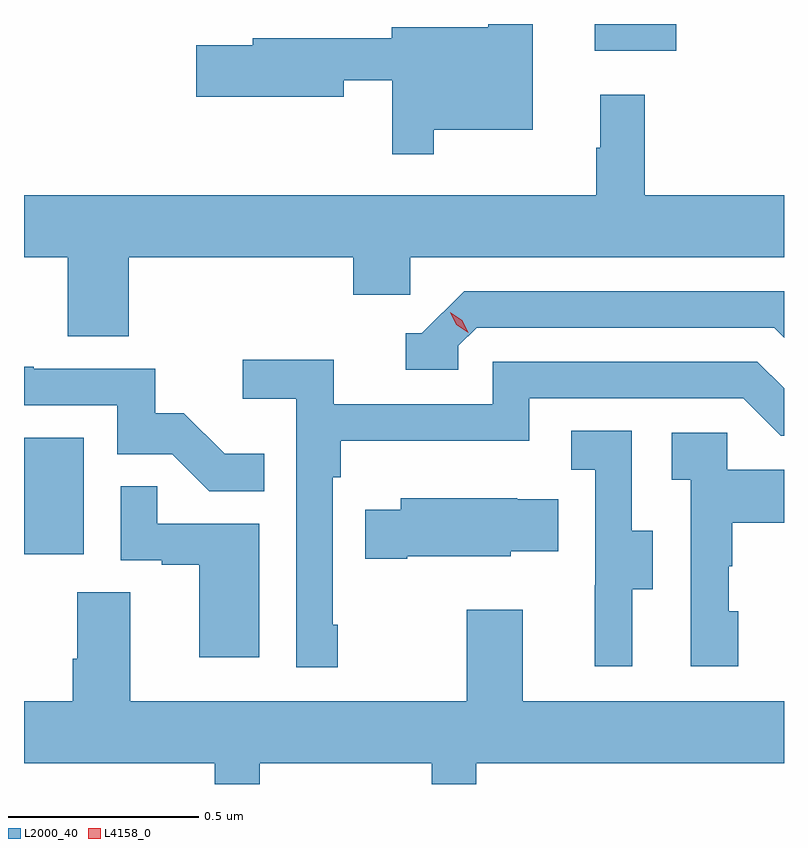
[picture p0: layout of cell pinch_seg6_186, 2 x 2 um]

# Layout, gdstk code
import gdstk
lib = gdstk.Library(unit=1e-6, precision=1e-09)
def R(c, l, rs):  # rectangles x0, y0, x1, y1
    for r in rs: c.add(gdstk.rectangle(r[:2], r[2:], *l))
def P(c, l, *ps):  # polygons
    for p in ps: c.add(gdstk.Polygon(p, *l))
L2000_40 = (2000, 40)
L4158_0 = (4158, 0)

pinch_seg6_186 = lib.new_cell('pinch_seg6_186')
R(pinch_seg6_186, L2000_40, [(1016.697,926.574,1016.854,926.881), (1018.199,927.899,1018.414,927.97)])
P(pinch_seg6_186, L2000_40, [(1017.775,927.692),(1018.036,927.692),(1018.036,927.97),(1017.919,927.97),(1017.919,927.961),(1017.665,927.961),(1017.665,927.932),(1017.299,927.932),(1017.299,927.914),(1017.15,927.914),(1017.15,927.779),(1017.538,927.779),(1017.538,927.822),(1017.666,927.822),(1017.666,927.627),(1017.775,927.627)],
  [(1016.972,927.356),(1017.563,927.356),(1017.563,927.258),(1017.714,927.258),(1017.714,927.356),(1018.697,927.356),(1018.697,927.52),(1018.331,927.52),(1018.331,927.784),(1018.214,927.784),(1018.214,927.644),(1018.203,927.644),(1018.203,927.52),(1016.697,927.52),(1016.697,927.356),(1016.812,927.356),(1016.812,927.148),(1016.972,927.148)],
  [(1017.84,927.123),(1017.888,927.171),(1018.671,927.171),(1018.697,927.145),(1018.697,927.267),(1017.855,927.267),(1017.744,927.156),(1017.701,927.156),(1017.701,927.06),(1017.84,927.06)],
  [(1017.523,926.389),(1017.51,926.389),(1017.51,926.777),(1017.53,926.777),(1017.53,926.873),(1018.026,926.873),(1018.026,926.985),(1018.59,926.985),(1018.689,926.886),(1018.697,926.886),(1018.697,927.011),(1018.627,927.081),(1017.93,927.081),(1017.93,926.97),(1017.512,926.97),(1017.512,927.086),(1017.273,927.086),(1017.273,926.984),(1017.414,926.984),(1017.414,926.277),(1017.523,926.277)],
  [(1017.329,926.839),(1017.225,926.839),(1017.118,926.946),(1017.042,926.946),(1017.042,927.063),(1016.723,927.063),(1016.723,927.068),(1016.697,927.068),(1016.697,926.967),(1016.943,926.967),(1016.943,926.838),(1017.087,926.838),(1017.185,926.74),(1017.329,926.74)],
  [(1018.297,926.482),(1018.351,926.482),(1018.351,926.637),(1018.296,926.637),(1018.296,926.9),(1018.137,926.9),(1018.137,926.797),(1018.2,926.797),(1018.2,926.493),(1018.199,926.493),(1018.199,926.28),(1018.297,926.28)],
  [(1018.576,926.424),(1018.551,926.424),(1018.551,926.543),(1018.561,926.543),(1018.561,926.657),(1018.697,926.657),(1018.697,926.797),(1018.548,926.797),(1018.548,926.895),(1018.401,926.895),(1018.401,926.771),(1018.452,926.771),(1018.452,926.28),(1018.576,926.28)],
  [(1017.316,926.655),(1017.047,926.655),(1017.047,926.753),(1016.952,926.753),(1016.952,926.559),(1017.059,926.559),(1017.059,926.547),(1017.158,926.547),(1017.158,926.304),(1017.316,926.304)],
  [(1017.706,926.57),(1017.978,926.57),(1017.978,926.582),(1018.103,926.582),(1018.103,926.719),(1017.995,926.719),(1017.995,926.722),(1017.689,926.722),(1017.689,926.692),(1017.595,926.692),(1017.595,926.563),(1017.706,926.563)],
  [(1017.317,926.024),(1017.77,926.024),(1017.77,925.97),(1017.887,925.97),(1017.887,926.024),(1018.697,926.024),(1018.697,926.188),(1018.009,926.188),(1018.009,926.428),(1017.862,926.428),(1017.862,926.188),(1016.977,926.188),(1016.977,926.474),(1016.837,926.474),(1016.837,926.3),(1016.825,926.3),(1016.825,926.188),(1016.697,926.188),(1016.697,926.024),(1017.199,926.024),(1017.199,925.97),(1017.317,925.97)])
P(pinch_seg6_186, L4158_0, [(1017.866,927.158),(1017.835,927.178),(1017.819,927.211),(1017.819,927.211),(1017.819,927.211),(1017.85,927.191),(1017.866,927.158),(1017.866,927.158)])

lib.write_gds('pinch_seg6_186.gds')
